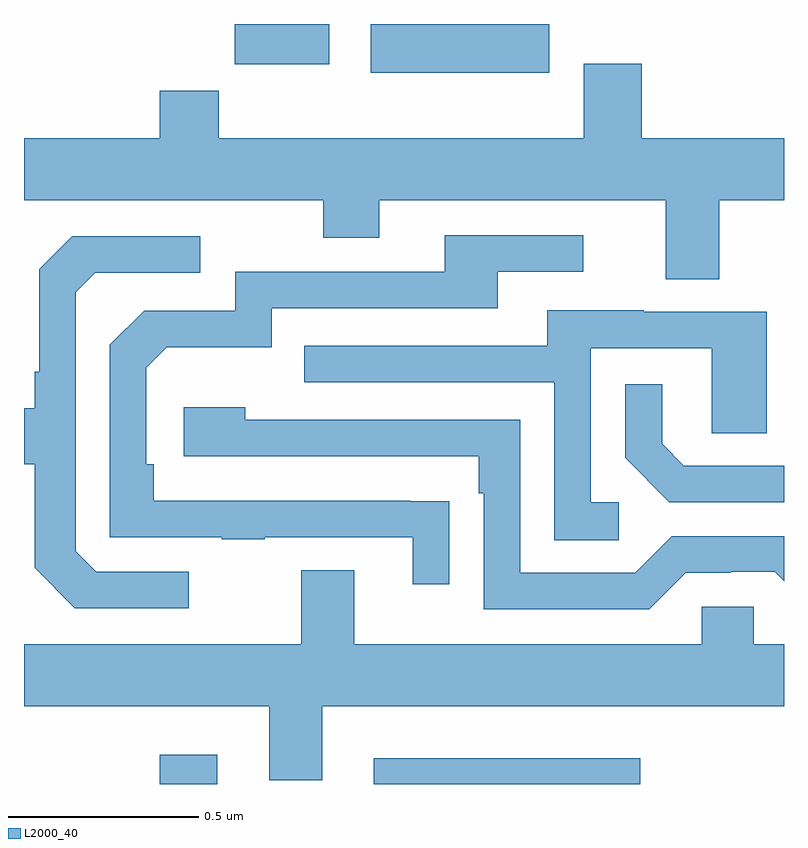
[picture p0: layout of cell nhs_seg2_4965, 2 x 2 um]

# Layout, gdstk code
import gdstk
lib = gdstk.Library(unit=1e-6, precision=1e-09)
def R(c, l, rs):  # rectangles x0, y0, x1, y1
    for r in rs: c.add(gdstk.rectangle(r[:2], r[2:], *l))
def P(c, l, *ps):  # polygons
    for p in ps: c.add(gdstk.Polygon(p, *l))
L2000_40 = (2000, 40)

nhs_seg2_4965 = lib.new_cell('nhs_seg2_4965')
R(nhs_seg2_4965, L2000_40, [(173.357,612.8,173.509,612.877), (173.921,612.8,174.622,612.868), (173.913,614.672,174.382,614.8), (173.554,614.694,173.803,614.8)])
P(nhs_seg2_4965, L2000_40, [(174.829,614.336),(175,614.336),(175,614.5),(174.626,614.5),(174.626,614.695),(174.473,614.695),(174.473,614.5),(173.513,614.5),(173.513,614.624),(173.357,614.624),(173.357,614.5),(173,614.5),(173,614.336),(173.788,614.336),(173.788,614.237),(173.935,614.237),(173.935,614.336),(174.689,614.336),(174.689,614.128),(174.829,614.128)],
  [(174.119,613.544),(174.017,613.544),(174.017,613.545),(173.342,613.545),(173.342,613.642),(173.322,613.642),(173.322,613.896),(173.375,613.949),(173.652,613.949),(173.652,614.052),(174.247,614.052),(174.247,614.148),(174.472,614.148),(174.472,614.244),(174.107,614.244),(174.107,614.148),(173.556,614.148),(173.556,614.046),(173.316,614.046),(173.226,613.956),(173.226,613.449),(173.521,613.449),(173.521,613.444),(173.633,613.444),(173.633,613.449),(174.023,613.449),(174.023,613.326),(174.119,613.326)],
  [(173.434,613.359),(173.19,613.359),(173.136,613.413),(173.136,614.094),(173.187,614.145),(173.464,614.145),(173.464,614.241),(173.127,614.241),(173.04,614.154),(173.04,613.885),(173.028,613.885),(173.028,613.789),(173,613.789),(173,613.642),(173.028,613.642),(173.028,613.369),(173.133,613.263),(173.434,613.263)],
  [(174.565,613.542),(174.492,613.542),(174.492,613.947),(174.81,613.947),(174.81,613.723),(174.955,613.723),(174.955,614.043),(174.631,614.043),(174.631,614.047),(174.377,614.047),(174.377,613.953),(173.737,613.953),(173.737,613.857),(174.396,613.857),(174.396,613.441),(174.565,613.441)],
  [(175,613.638),(174.736,613.638),(174.679,613.695),(174.679,613.852),(174.582,613.852),(174.582,613.658),(174.698,613.542),(175,613.542)],
  [(174.741,613.356),(174.86,613.356),(174.86,613.359),(174.975,613.359),(175,613.334),(175,613.452),(174.705,613.452),(174.609,613.356),(174.306,613.356),(174.306,613.758),(173.582,613.758),(173.582,613.792),(173.421,613.792),(173.421,613.662),(174.197,613.662),(174.197,613.565),(174.21,613.565),(174.21,613.26),(174.645,613.26)],
  [(173.785,613.004),(175,613.004),(175,613.168),(174.921,613.168),(174.921,613.266),(174.783,613.266),(174.783,613.168),(173.869,613.168),(173.869,613.363),(173.729,613.363),(173.729,613.168),(173,613.168),(173,613.004),(173.645,613.004),(173.645,612.81),(173.785,612.81)])

lib.write_gds('nhs_seg2_4965.gds')
